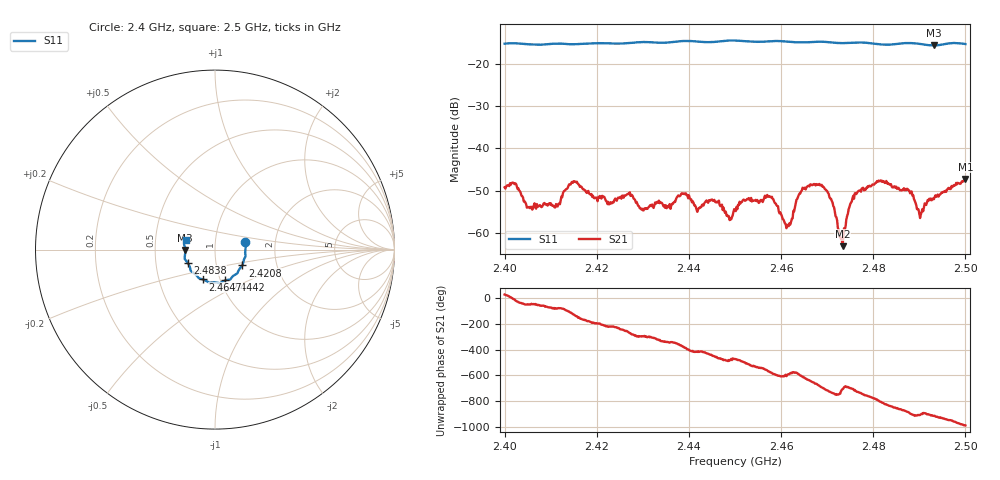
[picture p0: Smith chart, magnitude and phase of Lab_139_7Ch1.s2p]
# Hz S RI R 50
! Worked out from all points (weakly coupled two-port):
!   601 points, 2.4 GHz to 2.5 GHz, reference 50 ohm
!   highest |S21| = -47.23 dB at 2.5 GHz (marker M1); lowest = -63.1 dB at 2.4733 GHz (marker M2)
!   lowest |S11| = -15.6 dB at 2.4932 GHz (marker M3), VSWR 1.40, Z = 35.8 - j0.136 ohm
!   |S11| at or under -10 dB: start of sweep to end of sweep
!   S12 and S22 are empty: the file has one direction only
!   S11 on the Smith chart (normalised r, x): 2.4 GHz: 1.40, +0.12; 2.4208 GHz: 1.33, -0.24; 2.4442 GHz: 1.05, -0.37; 2.4647 GHz: 0.83, -0.29; 2.4838 GHz: 0.73, -0.11; 2.5 GHz: 0.71, +0.08
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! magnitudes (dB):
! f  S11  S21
! 2.4 GHz  -15.2  -49.2
! 2.4022 GHz  -15.1  -48.5
! 2.4057 GHz  -15.4  -53.8
! 2.4167 GHz  -15.3  -49.1
! 2.4208 GHz  -15.1  -51.4
! 2.4333 GHz  -15.0  -52.8
! 2.4442 GHz  -14.9  -52.9
! 2.4487 GHz  -14.5  -56.0
! 2.45 GHz  -14.5  -54.6
! 2.4575 GHz  -14.6  -51.3
! 2.4615 GHz  -14.7  -58.1
! 2.4647 GHz  -14.9  -49.3
! 2.4667 GHz  -14.8  -48.7
! 2.4698 GHz  -14.8  -49.9
! 2.4733 GHz  -15.1  -63.1
! 2.4765 GHz  -15.0  -50.5
! 2.4833 GHz  -15.5  -48.4
! 2.4838 GHz  -15.4  -48.5
! 2.4878 GHz  -15.1  -50.0
! 2.49 GHz  -15.2  -55.5
! 2.4932 GHz  -15.6  -52.0
! 2.5 GHz  -15.3  -47.2
